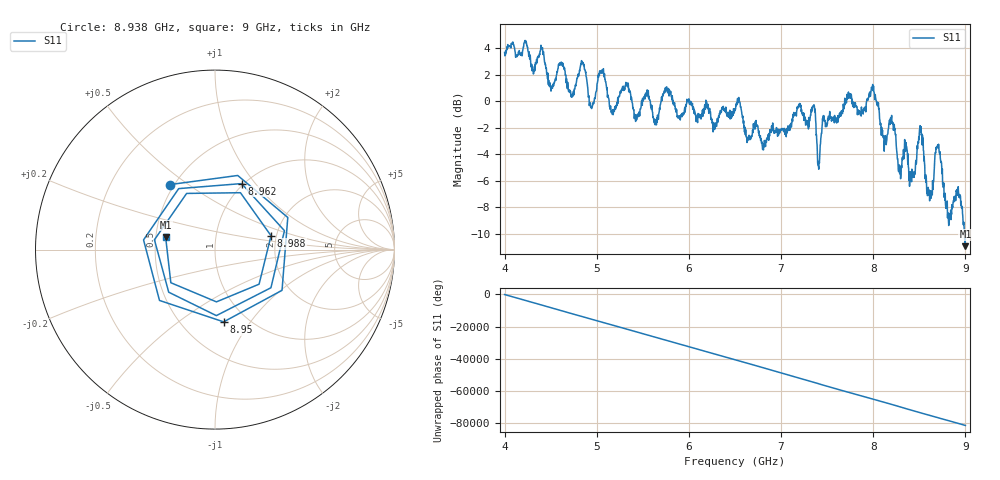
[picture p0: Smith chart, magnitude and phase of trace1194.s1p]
! Created with skrf 1.8.0 (http://scikit-rf.org).
# Hz S RI R 50.0
!freq ReS11 ImS11
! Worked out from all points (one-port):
!   1601 points, 4 GHz to 9 GHz, reference 50 ohm
!   lowest |S11| = -10.9 dB at 9 GHz (marker M1), VSWR 1.79, Z = 28.2 + j4.31 ohm
!   |S11| at or under -10 dB: 8.989688 GHz to end of sweep
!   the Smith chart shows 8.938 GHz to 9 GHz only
!   S11 on the Smith chart (normalised r, x): 8.938 GHz: 0.47, +0.43; 8.95 GHz: 0.78, -0.75; 8.962 GHz: 0.98, +0.85; 8.988 GHz: 1.87, +0.32; 9 GHz: 0.56, +0.09
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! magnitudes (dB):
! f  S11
! 4 GHz  3.7
! 4.625 GHz  2.9
! 4.728 GHz  0.5
! 4.85 GHz  2.9
! 4.944 GHz  -0.6
! 5.05 GHz  2.2
! 5.162 GHz  -0.7
! 5.25 GHz  0.5
! 5.875 GHz  -1.1
! 6.5 GHz  -0.7
! 6.812 GHz  -3.2
! 7.125 GHz  -1.5
! 7.35 GHz  -0.4
! 7.412 GHz  -4.5
! 7.75 GHz  0.2
! 8 GHz  0.9
! 8.122 GHz  -3.1
! 8.375 GHz  -4.8
! 8.431 GHz  -5.7
! 8.516 GHz  -2.3
! 8.606 GHz  -7.1
! 8.7 GHz  -3.3
! 8.812 GHz  -8.5
! 8.938 GHz  -7.1
! 8.95 GHz  -7.8
! 8.962 GHz  -8.0
! 8.988 GHz  -9.9
! 9 GHz  -10.9
